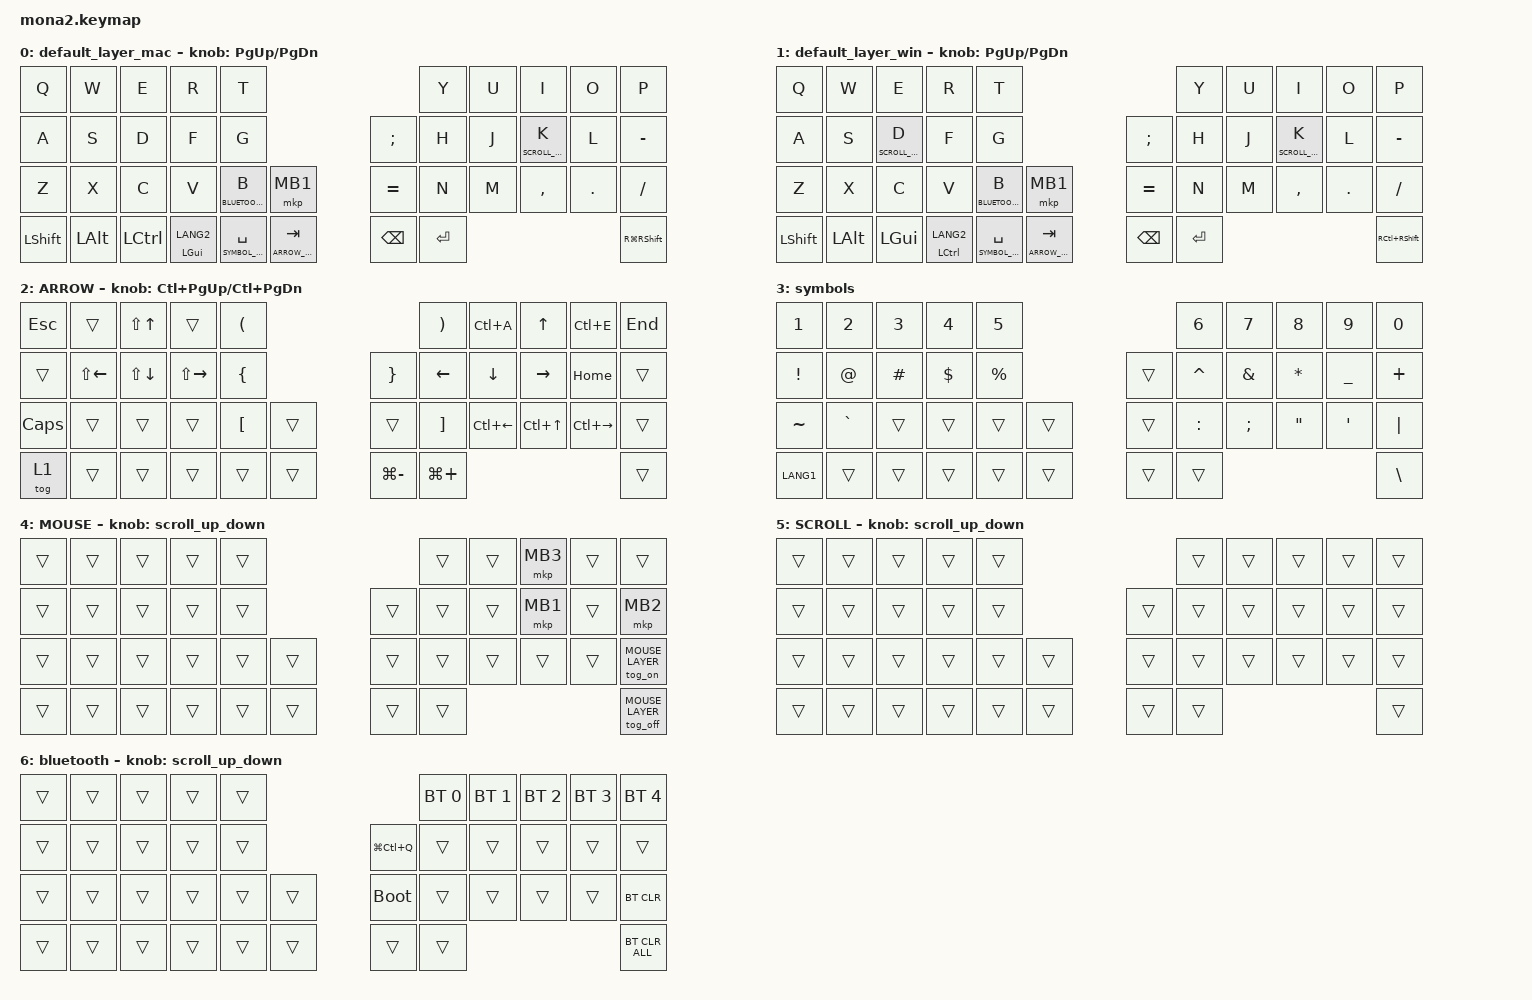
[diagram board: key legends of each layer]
#include <input/processors.dtsi>
#include <dt-bindings/zmk/input_transform.h>
#include <zephyr/dt-bindings/input/input-event-codes.h>
#include <behaviors.dtsi>
#include <dt-bindings/zmk/bt.h>
#include <dt-bindings/zmk/keys.h>
#include <dt-bindings/zmk/pointing.h>

#define ZMK_POINTING_DEFAULT_SCRL_VAL 100
#define ARROW_LAYER 2
#define SYMBOL_LAYER 3
#define MOUSE_LAYER 4
#define SCROLL_LAYER 5
#define BLUETOOTH_LAYER 6
#define AML_TIMEOUT_MS 10000
#define AML_IDLE_GUARD_MS 200

&mt {
    flavor = "balanced";
    quick-tap-ms = <0>;
};

&lt {
    quick-tap-ms = <300>;
    flavor = "balanced";
};

/ {
    input_processors {
        aml_temp_layer: aml_temp_layer {
            compatible = "zmk,input-processor-temp-layer";
            #input-processor-cells = <2>;
            require-prior-idle-ms = <AML_IDLE_GUARD_MS>;
            excluded-positions = <
                7
                18
                20
                21
                27
                32
                34
            >;
        };
    };

    combos {
        compatible = "zmk,combos";

        change-lang1 {
            bindings = <&kp LANG1>;
            key-positions = <37 40>;
            layers = <1 0>;
        };
    };

    macros {
        to_layer_0: to_layer_0 {
            compatible = "zmk,behavior-macro-one-param";
            #binding-cells = <1>;
            bindings = <&to 0 &macro_param_1to1 &kp MACRO_PLACEHOLDER>;
            label = "TO_LAYER_0";
        };
    };

    behaviors {
        tog_on: toggle_layer_on {
            compatible = "zmk,behavior-toggle-layer";
            #binding-cells = <1>;
            toggle-mode = "on";
        };

        tog_off: toggle_layer_off {
            compatible = "zmk,behavior-toggle-layer";
            #binding-cells = <1>;
            toggle-mode = "off";
        };

        lt_to_layer_0: lt_to_layer_0 {
            compatible = "zmk,behavior-hold-tap";
            label = "LAYER_TAP_TO_0";
            bindings = <&mo>, <&to_layer_0>;

            #binding-cells = <2>;
            tapping-term-ms = <200>;
        };

        scroll_up_down: mouse_wheel_up_down {
            compatible = "zmk,behavior-sensor-rotate";
            #sensor-binding-cells = <0>;
            bindings = <&msc SCRL_DOWN>, <&msc SCRL_UP>;

            tap-ms = <20>;
        };

        scroll_right_left: mouse_wheel_right_left {
            compatible = "zmk,behavior-sensor-rotate";
            #sensor-binding-cells = <0>;
            bindings = <&msc SCRL_LEFT>, <&msc SCRL_RIGHT>;

            tap-ms = <20>;
        };
    };

    keymap {
        compatible = "zmk,keymap";

        default_layer_mac {
            bindings = <
&kp Q           &kp W         &kp E             &kp R               &kp T                                      &kp Y       &kp U  &kp I      &kp O    &kp P
&kp A           &kp S         &kp D             &kp F               &kp G        &kp SEMICOLON  &kp H       &kp J  &lt SCROLL_LAYER K  &kp L    &kp MINUS
&kp Z           &kp X         &kp C             &kp V               &lt BLUETOOTH_LAYER B  &mkp MB1       &kp EQUAL      &kp N       &kp M  &kp COMMA  &kp DOT  &kp SLASH
&kp LEFT_SHIFT  &kp LEFT_ALT  &kp LEFT_CONTROL  &mt LEFT_GUI LANG2  &lt SYMBOL_LAYER SPACE  &lt ARROW_LAYER TAB  &kp BACKSPACE  &kp RETURN                             &kp RG(RSHFT)
            >;

            sensor-bindings = <&inc_dec_kp PG_UP PAGE_DOWN>;
        };

        default_layer_win {
            bindings = <
&kp Q           &kp W         &kp E                 &kp R                   &kp T                                      &kp Y       &kp U  &kp I      &kp O    &kp P
&kp A           &kp S         &lt SCROLL_LAYER D    &kp F                   &kp G        &kp SEMICOLON  &kp H       &kp J  &lt SCROLL_LAYER K  &kp L    &kp MINUS
&kp Z           &kp X         &kp C                 &kp V                   &lt BLUETOOTH_LAYER B  &mkp MB1       &kp EQUAL      &kp N       &kp M  &kp COMMA  &kp DOT  &kp SLASH
&kp LEFT_SHIFT  &kp LEFT_ALT  &kp LEFT_GUI          &mt LEFT_CONTROL LANG2  &lt SYMBOL_LAYER SPACE  &lt ARROW_LAYER TAB  &kp BACKSPACE  &kp RETURN                             &kp RC(RSHFT)
            >;

            sensor-bindings = <&inc_dec_kp PG_UP PAGE_DOWN>;
        };

        ARROW {
            bindings = <
&kp ESCAPE    &trans        &kp LS(UP_ARROW)  &trans         &kp LEFT_PARENTHESIS                       &kp RIGHT_PARENTHESIS  &kp LC(A)           &kp UP_ARROW      &kp LC(E)            &kp END
&trans        &kp LS(LEFT)  &kp LS(DOWN)      &kp LS(RIGHT)  &kp LEFT_BRACE        &kp RIGHT_BRACE    &kp LEFT_ARROW      &kp DOWN_ARROW    &kp RIGHT_ARROW      &kp HOME  &trans
&kp CAPSLOCK  &trans        &trans            &trans         &kp LEFT_BRACKET      &trans             &trans              &kp RIGHT_BRACKET  &kp LC(LEFT_ARROW)  &kp LC(UP_ARROW)  &kp LC(RIGHT_ARROW)  &trans
&tog 1        &trans        &trans            &trans         &trans                &trans             &kp LG(MINUS)      &kp LG(PLUS)                                                                  &trans
            >;

            sensor-bindings = <&inc_dec_kp LC(PAGE_UP) LC(PAGE_DOWN)>;
        };

        symbols {
            bindings = <
&kp N1           &kp N2       &kp N3    &kp N4      &kp N5                           &kp N6     &kp N7         &kp N8             &kp N9            &kp N0
&kp EXCLAMATION  &kp AT_SIGN  &kp HASH  &kp DOLLAR  &kp PERCENT  &trans      &kp CARET  &kp AMPERSAND  &kp ASTERISK       &kp UNDERSCORE    &kp PLUS
&kp TILDE        &kp GRAVE    &trans    &trans      &trans       &trans      &trans     &kp COLON      &kp SEMICOLON      &kp DOUBLE_QUOTES  &kp SINGLE_QUOTE  &kp PIPE
&kp LANG1        &trans       &trans    &trans      &trans       &trans      &trans     &trans                                                         &kp BACKSLASH
            >;
        };

        MOUSE {
            bindings = <
&trans  &trans  &trans  &trans  &trans                      &trans  &trans    &mkp MB3  &trans    &trans
&trans  &trans  &trans  &trans  &trans  &trans      &trans  &trans  &mkp MB1  &trans    &mkp MB2
&trans  &trans  &trans  &trans  &trans  &trans      &trans  &trans  &trans    &trans    &trans    &tog_on MOUSE_LAYER
&trans  &trans  &trans  &trans  &trans  &trans      &trans  &trans                                &tog_off MOUSE_LAYER
            >;

            sensor-bindings = <&scroll_up_down>;
        };

        SCROLL {
            bindings = <
&trans  &trans  &trans  &trans  &trans                    &trans  &trans  &trans  &trans  &trans
&trans  &trans  &trans  &trans  &trans  &trans    &trans  &trans  &trans  &trans  &trans
&trans  &trans  &trans  &trans  &trans  &trans    &trans  &trans  &trans  &trans  &trans  &trans
&trans  &trans  &trans  &trans  &trans  &trans    &trans  &trans                          &trans
            >;

            sensor-bindings = <&scroll_up_down>;
        };

        bluetooth {
            bindings = <
&trans  &trans  &trans  &trans  &trans                                  &bt BT_SEL 0  &bt BT_SEL 1  &bt BT_SEL 2  &bt BT_SEL 3  &bt BT_SEL 4
&trans  &trans  &trans  &trans  &trans  &kp LG(LC(Q))      &trans       &trans        &trans        &trans        &trans
&trans  &trans  &trans  &trans  &trans  &trans             &bootloader  &trans        &trans        &trans        &trans        &bt BT_CLR
&trans  &trans  &trans  &trans  &trans  &trans             &trans       &trans                                                  &bt BT_CLR_ALL
            >;

            sensor-bindings = <&scroll_up_down>;
        };
    };
};

&trackball_central_listener {
    input-processors =
        <&zip_xy_transform INPUT_TRANSFORM_Y_INVERT>,
        <&aml_temp_layer MOUSE_LAYER AML_TIMEOUT_MS>;
};

&mkp_input_listener {
    input-processors = <&aml_temp_layer MOUSE_LAYER AML_TIMEOUT_MS>;
};
